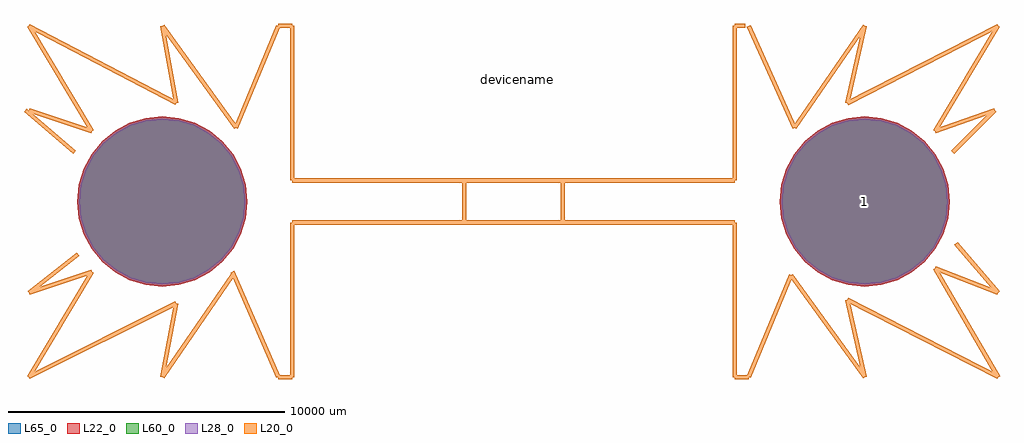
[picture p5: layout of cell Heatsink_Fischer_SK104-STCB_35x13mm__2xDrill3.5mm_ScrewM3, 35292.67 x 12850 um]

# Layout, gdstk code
import gdstk
lib = gdstk.Library(unit=1e-6, precision=1e-09)
def P(c, l, *ps):  # polygons
    for p in ps: c.add(gdstk.Polygon(p, *l))
L20_0 = (20, 0)
L22_0 = (22, 0)
L28_0 = (28, 0)
L60_0 = (60, 0)
L65_0 = (65, 0)

heatsink_fischer_sk104_s = lib.new_cell('Heatsink_Fischer_SK104-STCB_35x13mm__2xDrill3.5mm_ScrewM3')
P(heatsink_fischer_sk104_s, L22_0, [(-9625.26,0),(-9684.34,599.852),(-9859.311,1176.652),(-10143.447,1708.234),(-10525.83,2174.17),(-10991.766,2556.553),(-11523.348,2840.689),(-12100.148,3015.66),(-12700,3074.74),(-13299.852,3015.66),(-13876.652,2840.689),(-14408.234,2556.553),(-14874.17,2174.17),(-15256.553,1708.234),(-15540.689,1176.652),(-15715.66,599.852),(-15774.74,0),(-15715.66,-599.852),(-15540.689,-1176.652),(-15256.553,-1708.234),(-14874.17,-2174.17),(-14408.234,-2556.553),(-13876.652,-2840.689),(-13299.852,-3015.66),(-12700,-3074.74),(-12100.148,-3015.66),(-11523.348,-2840.689),(-10991.766,-2556.553),(-10525.83,-2174.17),(-10143.447,-1708.234),(-9859.311,-1176.652),(-9684.34,-599.852)],
  [(15774.74,0),(15715.66,599.852),(15540.689,1176.652),(15256.553,1708.234),(14874.17,2174.17),(14408.234,2556.553),(13876.652,2840.689),(13299.852,3015.66),(12700,3074.74),(12100.148,3015.66),(11523.348,2840.689),(10991.766,2556.553),(10525.83,2174.17),(10143.447,1708.234),(9859.311,1176.652),(9684.34,599.852),(9625.26,0),(9684.34,-599.852),(9859.311,-1176.652),(10143.447,-1708.234),(10525.83,-2174.17),(10991.766,-2556.553),(11523.348,-2840.689),(12100.148,-3015.66),(12700,-3074.74),(13299.852,-3015.66),(13876.652,-2840.689),(14408.234,-2556.553),(14874.17,-2174.17),(15256.553,-1708.234),(15540.689,-1176.652),(15715.66,-599.852)])
P(heatsink_fischer_sk104_s, L28_0, [(-9700.26,0),(-9757.899,585.22),(-9928.602,1147.951),(-10205.807,1666.566),(-10578.864,2121.136),(-11033.434,2494.193),(-11552.049,2771.398),(-12114.78,2942.101),(-12700,2999.74),(-13285.22,2942.101),(-13847.951,2771.398),(-14366.566,2494.193),(-14821.136,2121.136),(-15194.193,1666.566),(-15471.398,1147.951),(-15642.101,585.22),(-15699.74,0),(-15642.101,-585.22),(-15471.398,-1147.951),(-15194.193,-1666.566),(-14821.136,-2121.136),(-14366.566,-2494.193),(-13847.951,-2771.398),(-13285.22,-2942.101),(-12700,-2999.74),(-12114.78,-2942.101),(-11552.049,-2771.398),(-11033.434,-2494.193),(-10578.864,-2121.136),(-10205.807,-1666.566),(-9928.602,-1147.951),(-9757.899,-585.22)],
  [(15699.74,0),(15642.101,585.22),(15471.398,1147.951),(15194.193,1666.566),(14821.136,2121.136),(14366.566,2494.193),(13847.951,2771.398),(13285.22,2942.101),(12700,2999.74),(12114.78,2942.101),(11552.049,2771.398),(11033.434,2494.193),(10578.864,2121.136),(10205.807,1666.566),(9928.602,1147.951),(9757.899,585.22),(9700.26,0),(9757.899,-585.22),(9928.602,-1147.951),(10205.807,-1666.566),(10578.864,-2121.136),(11033.434,-2494.193),(11552.049,-2771.398),(12114.78,-2942.101),(12700,-2999.74),(13285.22,-2942.101),(13847.951,-2771.398),(14366.566,-2494.193),(14821.136,-2121.136),(15194.193,-1666.566),(15471.398,-1147.951),(15642.101,-585.22)])
P(heatsink_fischer_sk104_s, L60_0, [(-9700.26,0),(-9757.899,585.22),(-9928.602,1147.951),(-10205.807,1666.566),(-10578.864,2121.136),(-11033.434,2494.193),(-11552.049,2771.398),(-12114.78,2942.101),(-12700,2999.74),(-13285.22,2942.101),(-13847.951,2771.398),(-14366.566,2494.193),(-14821.136,2121.136),(-15194.193,1666.566),(-15471.398,1147.951),(-15642.101,585.22),(-15699.74,0),(-15642.101,-585.22),(-15471.398,-1147.951),(-15194.193,-1666.566),(-14821.136,-2121.136),(-14366.566,-2494.193),(-13847.951,-2771.398),(-13285.22,-2942.101),(-12700,-2999.74),(-12114.78,-2942.101),(-11552.049,-2771.398),(-11033.434,-2494.193),(-10578.864,-2121.136),(-10205.807,-1666.566),(-9928.602,-1147.951),(-9757.899,-585.22)],
  [(15699.74,0),(15642.101,585.22),(15471.398,1147.951),(15194.193,1666.566),(14821.136,2121.136),(14366.566,2494.193),(13847.951,2771.398),(13285.22,2942.101),(12700,2999.74),(12114.78,2942.101),(11552.049,2771.398),(11033.434,2494.193),(10578.864,2121.136),(10205.807,1666.566),(9928.602,1147.951),(9757.899,585.22),(9700.26,0),(9757.899,-585.22),(9928.602,-1147.951),(10205.807,-1666.566),(10578.864,-2121.136),(11033.434,-2494.193),(11552.049,-2771.398),(12114.78,-2942.101),(12700,-2999.74),(13285.22,-2942.101),(13847.951,-2771.398),(14366.566,-2494.193),(14821.136,-2121.136),(15194.193,-1666.566),(15471.398,-1147.951),(15642.101,-585.22)])
P(heatsink_fischer_sk104_s, L65_0, [(-9625.26,0),(-9684.34,599.852),(-9859.311,1176.652),(-10143.447,1708.234),(-10525.83,2174.17),(-10991.766,2556.553),(-11523.348,2840.689),(-12100.148,3015.66),(-12700,3074.74),(-13299.852,3015.66),(-13876.652,2840.689),(-14408.234,2556.553),(-14874.17,2174.17),(-15256.553,1708.234),(-15540.689,1176.652),(-15715.66,599.852),(-15774.74,0),(-15715.66,-599.852),(-15540.689,-1176.652),(-15256.553,-1708.234),(-14874.17,-2174.17),(-14408.234,-2556.553),(-13876.652,-2840.689),(-13299.852,-3015.66),(-12700,-3074.74),(-12100.148,-3015.66),(-11523.348,-2840.689),(-10991.766,-2556.553),(-10525.83,-2174.17),(-10143.447,-1708.234),(-9859.311,-1176.652),(-9684.34,-599.852)],
  [(15774.74,0),(15715.66,599.852),(15540.689,1176.652),(15256.553,1708.234),(14874.17,2174.17),(14408.234,2556.553),(13876.652,2840.689),(13299.852,3015.66),(12700,3074.74),(12100.148,3015.66),(11523.348,2840.689),(10991.766,2556.553),(10525.83,2174.17),(10143.447,1708.234),(9859.311,1176.652),(9684.34,599.852),(9625.26,0),(9684.34,-599.852),(9859.311,-1176.652),(10143.447,-1708.234),(10525.83,-2174.17),(10991.766,-2556.553),(11523.348,-2840.689),(12100.148,-3015.66),(12700,-3074.74),(13299.852,-3015.66),(13876.652,-2840.689),(14408.234,-2556.553),(14874.17,-2174.17),(15256.553,-1708.234),(15540.689,-1176.652),(15715.66,-599.852)])
heatsink_fischer_sk104_s.add(gdstk.FlexPath([(8001,762),(8001,6350)], 149.998, ends="flush", simple_path=True, layer=20, datatype=0))  # L20_0
heatsink_fischer_sk104_s.add(gdstk.FlexPath([(0,762),(8001,762)], 149.998, ends="flush", simple_path=True, layer=20, datatype=0))  # L20_0
heatsink_fischer_sk104_s.add(gdstk.FlexPath([(-8001,762),(-8001,6350)], 149.998, ends="flush", simple_path=True, layer=20, datatype=0))  # L20_0
heatsink_fischer_sk104_s.add(gdstk.FlexPath([(0,762),(-8001,762)], 149.998, ends="flush", simple_path=True, layer=20, datatype=0))  # L20_0
heatsink_fischer_sk104_s.add(gdstk.FlexPath([(8001,-762),(8001,-6350)], 149.998, ends="flush", simple_path=True, layer=20, datatype=0))  # L20_0
heatsink_fischer_sk104_s.add(gdstk.FlexPath([(0,-762),(8001,-762)], 149.998, ends="flush", simple_path=True, layer=20, datatype=0))  # L20_0
heatsink_fischer_sk104_s.add(gdstk.FlexPath([(-8001,-762),(-8001,-6350)], 149.998, ends="flush", simple_path=True, layer=20, datatype=0))  # L20_0
heatsink_fischer_sk104_s.add(gdstk.FlexPath([(0,-762),(-8001,-762)], 149.998, ends="flush", simple_path=True, layer=20, datatype=0))  # L20_0
heatsink_fischer_sk104_s.add(gdstk.FlexPath([(-17526,3302),(-15240,2540)], 149.998, ends="flush", simple_path=True, layer=20, datatype=0))  # L20_0
heatsink_fischer_sk104_s.add(gdstk.FlexPath([(-17526,-3302),(-15240,-2540)], 149.998, ends="flush", simple_path=True, layer=20, datatype=0))  # L20_0
heatsink_fischer_sk104_s.add(gdstk.FlexPath([(-17653,3302),(-15875,1778)], 149.998, ends="flush", simple_path=True, layer=20, datatype=0))  # L20_0
heatsink_fischer_sk104_s.add(gdstk.FlexPath([(-17526,-3302),(-15748,-1905)], 149.998, ends="flush", simple_path=True, layer=20, datatype=0))  # L20_0
heatsink_fischer_sk104_s.add(gdstk.FlexPath([(-8509,6350),(-10033,2667)], 149.998, ends="flush", simple_path=True, layer=20, datatype=0))  # L20_0
heatsink_fischer_sk104_s.add(gdstk.FlexPath([(-8001,6350),(-8509,6350)], 149.998, ends="flush", simple_path=True, layer=20, datatype=0))  # L20_0
heatsink_fischer_sk104_s.add(gdstk.FlexPath([(-8509,-6350),(-10160,-2540)], 149.998, ends="flush", simple_path=True, layer=20, datatype=0))  # L20_0
heatsink_fischer_sk104_s.add(gdstk.FlexPath([(8509,6350),(10160,2667)], 149.998, ends="flush", simple_path=True, layer=20, datatype=0))  # L20_0
heatsink_fischer_sk104_s.add(gdstk.FlexPath([(8509,-6350),(10033,-2667)], 149.998, ends="flush", simple_path=True, layer=20, datatype=0))  # L20_0
heatsink_fischer_sk104_s.add(gdstk.FlexPath([(10160,2667),(12700,6350)], 149.998, ends="flush", simple_path=True, layer=20, datatype=0))  # L20_0
heatsink_fischer_sk104_s.add(gdstk.FlexPath([(17526,6350),(15240,2540)], 149.998, ends="flush", simple_path=True, layer=20, datatype=0))  # L20_0
heatsink_fischer_sk104_s.add(gdstk.FlexPath([(17399,3302),(15875,1778)], 149.998, ends="flush", simple_path=True, layer=20, datatype=0))  # L20_0
heatsink_fischer_sk104_s.add(gdstk.FlexPath([(15240,2540),(17399,3302)], 149.998, ends="flush", simple_path=True, layer=20, datatype=0))  # L20_0
heatsink_fischer_sk104_s.add(gdstk.FlexPath([(17526,-6350),(15240,-2413)], 149.998, ends="flush", simple_path=True, layer=20, datatype=0))  # L20_0
heatsink_fischer_sk104_s.add(gdstk.FlexPath([(17526,-3302),(16002,-1524)], 149.998, ends="flush", simple_path=True, layer=20, datatype=0))  # L20_0
heatsink_fischer_sk104_s.add(gdstk.FlexPath([(15240,-2413),(17526,-3302)], 149.998, ends="flush", simple_path=True, layer=20, datatype=0))  # L20_0
heatsink_fischer_sk104_s.add(gdstk.FlexPath([(12065,-3556),(17526,-6350)], 149.998, ends="flush", simple_path=True, layer=20, datatype=0))  # L20_0
heatsink_fischer_sk104_s.add(gdstk.FlexPath([(12700,-6350),(12065,-3556)], 149.998, ends="flush", simple_path=True, layer=20, datatype=0))  # L20_0
heatsink_fischer_sk104_s.add(gdstk.FlexPath([(10033,-2667),(12700,-6350)], 149.998, ends="flush", simple_path=True, layer=20, datatype=0))  # L20_0
heatsink_fischer_sk104_s.add(gdstk.FlexPath([(8001,-6350),(8509,-6350)], 149.998, ends="flush", simple_path=True, layer=20, datatype=0))  # L20_0
heatsink_fischer_sk104_s.add(gdstk.FlexPath([(8001,6350),(8382,6350)], 149.998, ends="flush", simple_path=True, layer=20, datatype=0))  # L20_0
heatsink_fischer_sk104_s.add(gdstk.FlexPath([(-15240,2540),(-17526,6350)], 149.998, ends="flush", simple_path=True, layer=20, datatype=0))  # L20_0
heatsink_fischer_sk104_s.add(gdstk.FlexPath([(-15240,-2540),(-17526,-6350)], 149.998, ends="flush", simple_path=True, layer=20, datatype=0))  # L20_0
heatsink_fischer_sk104_s.add(gdstk.FlexPath([(-12192,-3683),(-17526,-6350)], 149.998, ends="flush", simple_path=True, layer=20, datatype=0))  # L20_0
heatsink_fischer_sk104_s.add(gdstk.FlexPath([(-12700,-6350),(-12192,-3683)], 149.998, ends="flush", simple_path=True, layer=20, datatype=0))  # L20_0
heatsink_fischer_sk104_s.add(gdstk.FlexPath([(-10160,-2667),(-12700,-6350)], 149.998, ends="flush", simple_path=True, layer=20, datatype=0))  # L20_0
heatsink_fischer_sk104_s.add(gdstk.FlexPath([(-12192,3556),(-17526,6350)], 149.998, ends="flush", simple_path=True, layer=20, datatype=0))  # L20_0
heatsink_fischer_sk104_s.add(gdstk.FlexPath([(-12700,6350),(-12192,3556)], 149.998, ends="flush", simple_path=True, layer=20, datatype=0))  # L20_0
heatsink_fischer_sk104_s.add(gdstk.FlexPath([(-10033,2667),(-12700,6350)], 149.998, ends="flush", simple_path=True, layer=20, datatype=0))  # L20_0
heatsink_fischer_sk104_s.add(gdstk.FlexPath([(12065,3556),(12700,6350)], 149.998, ends="flush", simple_path=True, layer=20, datatype=0))  # L20_0
heatsink_fischer_sk104_s.add(gdstk.FlexPath([(17526,6350),(12065,3556)], 149.998, ends="flush", simple_path=True, layer=20, datatype=0))  # L20_0
heatsink_fischer_sk104_s.add(gdstk.FlexPath([(-8509,-6350),(-8001,-6350)], 149.998, ends="flush", simple_path=True, layer=20, datatype=0))  # L20_0
heatsink_fischer_sk104_s.add(gdstk.FlexPath([(1778,762),(1778,-762)], 149.998, ends="flush", simple_path=True, layer=20, datatype=0))  # L20_0
heatsink_fischer_sk104_s.add(gdstk.FlexPath([(-1778,762),(-1778,-762)], 149.998, ends="flush", simple_path=True, layer=20, datatype=0))  # L20_0
heatsink_fischer_sk104_s.add(gdstk.Label('1', (12700,0), layer=28, texttype=0))
heatsink_fischer_sk104_s.add(gdstk.Label('type', (1975,-9000), layer=9, texttype=0))
heatsink_fischer_sk104_s.add(gdstk.Label('devicename', (150,4400), layer=9, texttype=0))

lib.write_gds('Heatsink_Fischer_SK104-STCB_35x13mm__2xDrill3.5mm_ScrewM3.gds')
